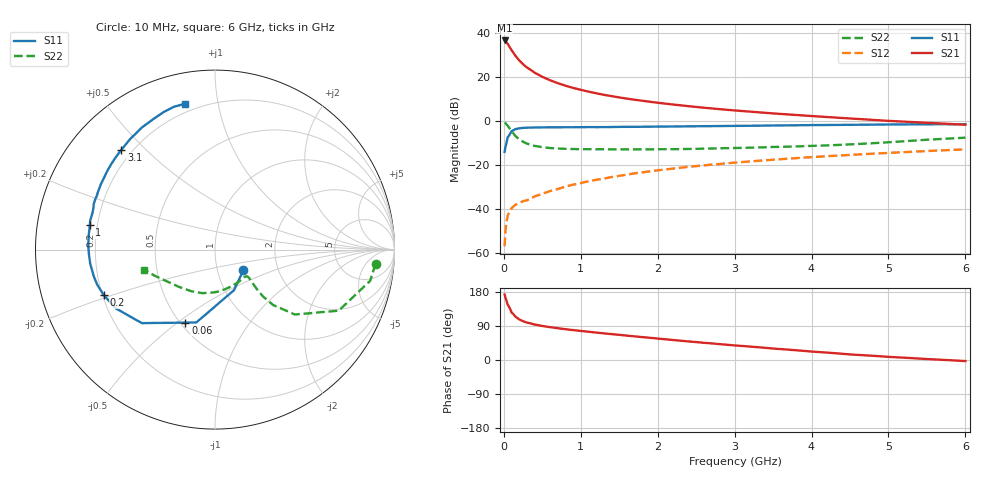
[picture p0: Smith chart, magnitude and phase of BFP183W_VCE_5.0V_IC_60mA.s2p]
! Infineon Technologies  Discrete & RF Semiconductors
! BFP183W
! VCE =  5.0 V,  IC =  60 mA
! Common Emitter S-Parameters:  Jan 2017
# GHz  S  MA  R  50
!  f  S11  S21  S12  S22
! GHz  MAG  ANG  MAG  ANG  MAG  ANG  MAG  ANG
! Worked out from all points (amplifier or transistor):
!   77 points, 10 MHz to 6 GHz, reference 50 ohm
!   highest |S21| = 36.5 dB at 10 MHz (marker M1)
!   |S21| within 3 dB of that: start of sweep to 75.28 MHz
!   unconditionally stable (mu >= 1): 464.2 MHz to 3.63 GHz
!   at 130 MHz: K = 0.50, MSG = 34.7 dB, |S12| = -38.9 dB
!   at 2.2 GHz: K = 1.12, MAG = 12.5 dB, |S12| = -21.8 dB
!   at 6 GHz: K = 0.87, MSG = 5.6 dB, |S12| = -13.0 dB
!   S11 on the Smith chart (normalised r, x): 10 MHz: 1.33, -0.32; 60 MHz: 0.53, -0.53; 200 MHz: 0.21, -0.19; 1 GHz: 0.17, +0.09; 3.1 GHz: 0.16, +0.42; 6 GHz: 0.15, +0.80
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0.01  0.1955 -36.0  66.6 173.0  0.0014 85.3  0.898 -5.1
0.02  0.2496 -64.9  65.11 165.0  0.003 84.0  0.8816 -11.4
0.05  0.4191 -104.4  55.81 146.0  0.007 61.5  0.7684 -26.3
0.06  0.4388 -112.1  52.24 142.9  0.0076 59.6  0.727 -28.3
0.1  0.5775 -134.8  40.15 125.5  0.0102 54.2  0.5734 -39.1
0.15  0.6417 -149.2  29.91 114.4  0.0122 49.4  0.4484 -43.6
0.2  0.6694 -157.7  23.43 107.2  0.0134 49.3  0.3759 -44.3
0.25  0.685 -163.6  19.17 102.3  0.0148 51.3  0.331 -43.7
0.3  0.6919 -167.7  16.17 98.8  0.0154 52.1  0.3006 -42.6
0.4  0.6998 -173.6  12.34 93.6  0.0189 57.6  0.2667 -40.9
0.5  0.7027 -177.8  9.918 89.8  0.0217 59.9  0.2493 -39.9
0.6  0.7061 178.8  8.303 86.6  0.0251 62.1  0.2386 -39.6
0.7  0.7065 176.3  7.127 84.0  0.0278 64.5  0.2323 -39.8
0.8  0.7083 173.5  6.256 81.3  0.0317 67.1  0.229 -40.6
1  0.7104 169.0  5.025 76.7  0.0382 68.6  0.2241 -43.0
1.1  0.714 166.9  4.573 74.6  0.0418 68.3  0.2245 -44.6
1.5  0.7216 159.4  3.369 66.4  0.0555 69.4  0.2226 -52.0
2.1  0.7345 148.6  2.438 54.7  0.0777 67.8  0.2241 -66.8
3.1  0.7623 133.2  1.655 37.0  0.1146 62.0  0.2406 -95.1
4.1  0.7945 119.8  1.242 20.9  0.1517 55.6  0.27 -122.8
5.1  0.8196 109.6  0.969 7.2  0.1886 48.3  0.3309 -149.2
6  0.8299 101.7  0.807 -2.8  0.2228 41.3  0.4104 -164.2
